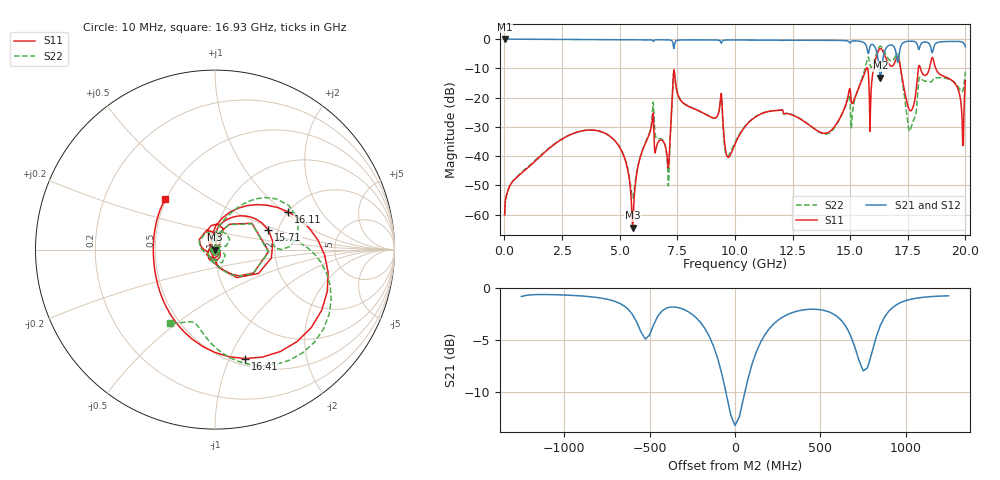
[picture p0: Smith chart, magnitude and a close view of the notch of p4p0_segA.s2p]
! Stitch-density study - 40 x 12 mm symmetric stripline, cut at x=20 mm
! Case: p4p0_segA
! Sweep: 10 MHz - 20 GHz, 25 MHz step, 4 cores
# GHz S MA R 50.000000
! Terminal data exported
! Port[1] = U1.PAD1.SIG
! Port[2] = U2.PAD1.SIG
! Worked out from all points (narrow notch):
!   801 points, 10 MHz to 20 GHz, reference 50 ohm
!   highest |S21| = -0.01 dB at 10 MHz (marker M1); lowest = -13.2 dB at 16.31 GHz (marker M2)
!   notch at M2: 12.9 dB deep, 212 MHz wide at half that depth
!   lowest |S11| = -64.4 dB at 5.56 GHz (marker M3), VSWR 1.00, Z = 50 - j0.0596 ohm
!   |S11| at or under -10 dB: start of sweep to 15.71 GHz; 17.19 GHz to 17.96 GHz (773.7 MHz wide, 4.4 % of centre); 18.71 GHz to end of sweep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
!   |S22| runs from -60.1 to -2.4 dB; largest |S21 - S12| = 0
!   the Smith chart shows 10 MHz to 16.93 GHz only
!   S11 on the Smith chart (normalised r, x): 10 MHz: 1.00, +0.00; 15.71 GHz: 1.78, +0.43; 16.11 GHz: 2.00, +1.06; 16.41 GHz: 0.57, -1.15; 16.93 GHz: 0.49, +0.33
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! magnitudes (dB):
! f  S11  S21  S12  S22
! 10 MHz  -60.1  0.0  0.0  -60.1
! 3.36 GHz  -31.4  -0.1  -0.1  -31.4
! 4.935 GHz  -36.2  -0.2  -0.2  -36.1
! 5.56 GHz  -64.4  -0.2  -0.2  -54.3
! 6.36 GHz  -30.5  -0.3  -0.3  -29.7
! 6.685 GHz  -35.1  -0.2  -0.2  -34.1
! 7.11 GHz  -44.0  -0.3  -0.3  -50.2
! 7.41 GHz  -14.0  -1.0  -1.0  -14.0
! 10.01 GHz  -35.8  -0.3  -0.3  -35.2
! 11.46 GHz  -24.8  -0.4  -0.4  -24.7
! 13.36 GHz  -30.2  -0.4  -0.4  -30.1
! 15.11 GHz  -21.9  -0.6  -0.6  -24.6
! 15.71 GHz  -10.0  -2.5  -2.5  -7.9
! 16.11 GHz  -6.8  -3.3  -3.3  -5.7
! 16.31 GHz  -3.2  -13.2  -13.2  -2.4
! 16.41 GHz  -4.0  -7.3  -7.3  -3.1
! 16.68 GHz  -8.6  -2.2  -2.2  -7.0
! 16.93 GHz  -8.0  -3.1  -3.1  -6.3
! 17.61 GHz  -24.5  -0.7  -0.7  -31.1
! 18.06 GHz  -10.2  -1.9  -1.9  -13.2
! 18.56 GHz  -6.3  -4.7  -4.7  -14.3
! 20 GHz  -14.3  -2.7  -2.7  -11.1
